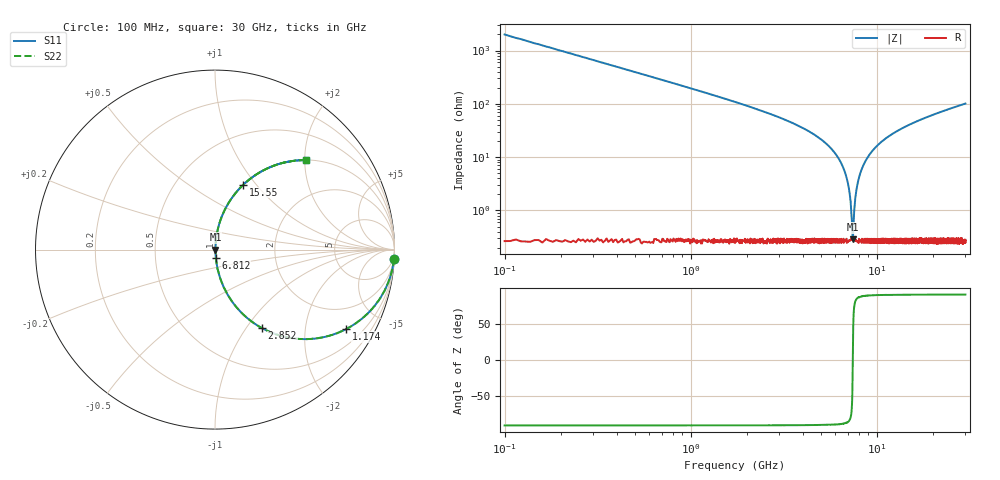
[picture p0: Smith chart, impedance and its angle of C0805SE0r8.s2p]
! AVX Thin Film Operation		Date: April 2012
! Description: Accu-P® Series, Thin Film, SMD, RF Capacitor
! Part Number: 08051J0R8PBTTR
!	100	MHz	-	30.05	GHz
!	Serial	Measurements
#	MHZ	S	MA	R	50
!	S11	S21	S12	S22
!	dB	Phase	dB	Phase	dB	Phase	dB	Phase
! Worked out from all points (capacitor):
!   4010 points, 100 MHz to 30 GHz, reference 50 ohm
!   read as one part in series: C = 800 fF near 249.2 MHz
!   lowest |Z| = 287 mohm at 7.446 GHz (marker M1)
!   series resonance near 7.443 GHz, so ESL is about 570 pH
!   S11 on the Smith chart (normalised r, x): 100 MHz: 1, -40; 1.174 GHz: 1.00, -3.31; 2.852 GHz: 1.01, -1.19; 6.812 GHz: 1.01, -0.09; 15.55 GHz: 1.01, +0.86; 30 GHz: 1.01, +2.02
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100  0.999 -2.9  0.05 87.1  0.05 87.1  0.999 -2.9
331.205  0.986 -9.5  0.165 80.5  0.165 80.5  0.986 -9.5
510.202  0.968 -14.4  0.249 75.5  0.249 75.5  0.968 -14.4
1173.984  0.855 -31.2  0.517 58.8  0.517 58.8  0.855 -31.2
2852.083  0.51 -59.1  0.858 30.7  0.858 30.7  0.51 -59.1
5089.549  0.203 -77.5  0.976 11.7  0.976 11.7  0.203 -77.5
6163.532  0.101 -82.7  0.992 5.8  0.992 5.8  0.101 -82.7
6812.397  0.047 -84.0  0.996 2.7  0.996 2.7  0.047 -84.0
7110.726  0.024 -82.3  0.997 1.4  0.997 1.4  0.024 -82.3
7349.389  0.00724 -67.8  0.997 0.4  0.997 0.4  0.00724 -67.8
7446.346  0.00271 5.6  0.997 -0.0  0.997 -0.0  0.00271 5.6
7535.844  0.00716 67.5  0.997 -0.4  0.997 -0.4  0.00716 67.5
7677.551  0.017 79.8  0.997 -0.9  0.997 -0.9  0.017 79.8
7796.882  0.025 82.4  0.997 -1.4  0.997 -1.4  0.025 82.4
8214.542  0.053 84.1  0.996 -3.0  0.996 -3.0  0.053 84.1
8937.99  0.098 82.8  0.993 -5.6  0.993 -5.6  0.098 82.8
10071.64  0.162 79.8  0.984 -9.3  0.984 -9.3  0.162 79.8
15053.73  0.377 67.5  0.924 -22.2  0.924 -22.2  0.377 67.5
15553.43  0.395 66.4  0.916 -23.2  0.916 -23.2  0.395 66.4
20035.82  0.526 58.0  0.848 -31.7  0.848 -31.7  0.526 58.0
25017.91  0.633 50.6  0.772 -39.2  0.772 -39.2  0.633 50.6
30000  0.71 44.6  0.702 -45.2  0.702 -45.2  0.71 44.6
